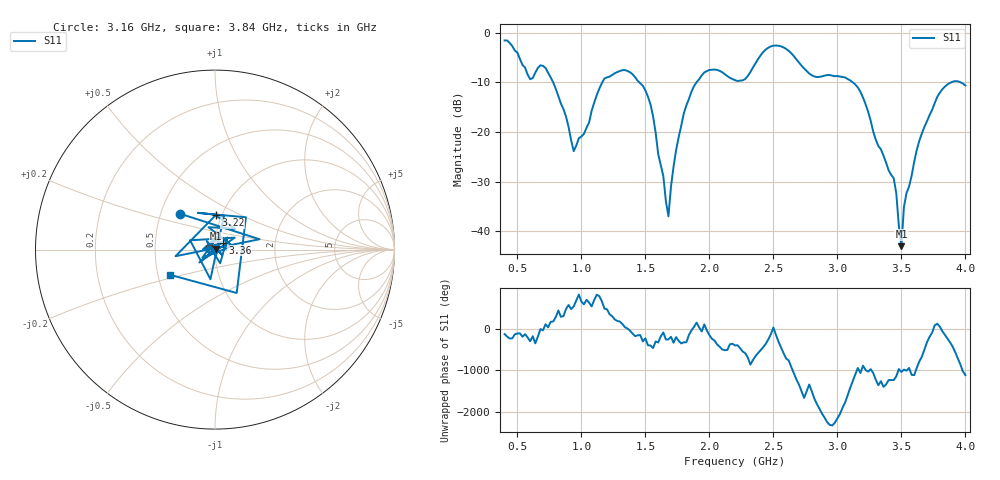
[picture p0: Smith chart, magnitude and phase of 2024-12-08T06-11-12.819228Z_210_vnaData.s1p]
!Created with skrf (http://scikit-rf.org).
# Hz S RI R 50.0
!freq ReS11 ImS11
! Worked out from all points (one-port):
!   181 points, 400 MHz to 4 GHz, reference 50 ohm
!   lowest |S11| = -43.1 dB at 3.5 GHz (marker M1), VSWR 1.01, Z = 50.5 + j0.45 ohm
!   |S11| at or under -10 dB: 780.2 MHz to 1.163 GHz (382.4 MHz wide, 39.4 % of centre); 1.453 GHz to 1.898 GHz (444.9 MHz wide, 26.5 % of centre); 3.121 GHz to 3.887 GHz (765.5 MHz wide, 21.8 % of centre) (the widest 3 of 4)
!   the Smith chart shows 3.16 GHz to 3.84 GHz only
!   S11 on the Smith chart (normalised r, x): 3.16 GHz: 0.63, +0.27; 3.22 GHz: 0.93, +0.37; 3.36 GHz: 1.08, +0.09; 3.84 GHz: 0.58, -0.18
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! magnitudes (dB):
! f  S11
! 400 MHz  -1.5
! 600 MHz  -9.3
! 720 MHz  -7.1
! 860 MHz  -15.4
! 940 MHz  -23.9
! 1.18 GHz  -9.2
! 1.3 GHz  -7.7
! 1.52 GHz  -12.9
! 1.68 GHz  -37.0
! 1.72 GHz  -26.9
! 1.76 GHz  -21.0
! 1.86 GHz  -11.8
! 1.96 GHz  -8.0
! 2.2 GHz  -9.5
! 2.48 GHz  -2.7
! 2.66 GHz  -4.7
! 2.82 GHz  -8.8
! 3.1 GHz  -9.6
! 3.16 GHz  -11.0
! 3.22 GHz  -14.4
! 3.36 GHz  -24.8
! 3.44 GHz  -29.3
! 3.5 GHz  -43.1
! 3.52 GHz  -35.1
! 3.56 GHz  -31.0
! 3.66 GHz  -20.3
! 3.84 GHz  -10.8
! 4 GHz  -10.6
